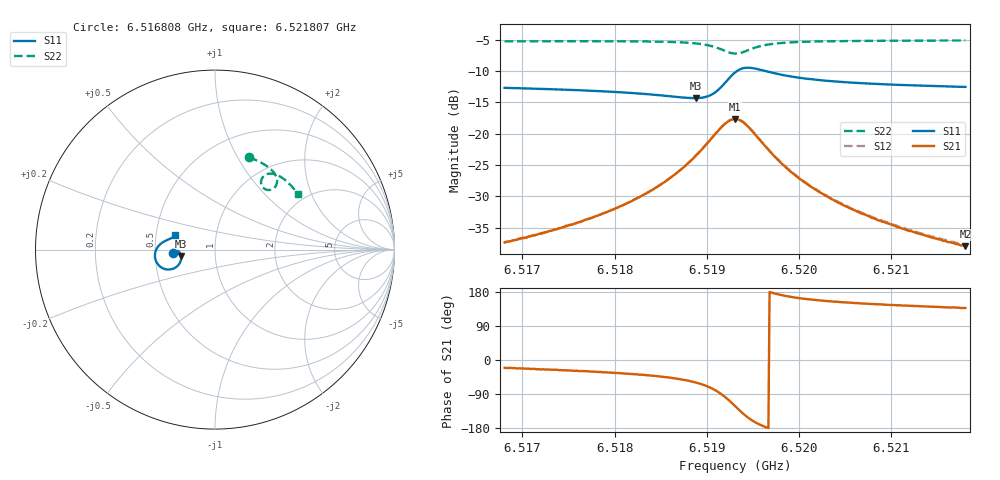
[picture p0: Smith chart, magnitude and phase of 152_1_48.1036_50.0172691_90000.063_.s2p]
#  HZ  S  RI  R  50.00
! Rohde & Schwarz Vector Network Analyzer
! Rohde-Schwarz,ZNB20-2Port,1311601062101988,3.16
! Created: UTC 12/23/2023, 3:49:51 AM
! freq[Hz]  re:S11  im:S11  re:S21  im:S21  re:S12  im:S12  re:S22  im:S22
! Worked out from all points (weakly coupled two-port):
!   401 points, 6.516808 GHz to 6.521807 GHz, reference 50 ohm
!   highest |S21| = -17.67 dB at 6.519307 GHz (marker M1); lowest = -38.0 dB at 6.521807 GHz (marker M2)
!   lowest |S11| = -14.3 dB at 6.518882 GHz (marker M3), VSWR 1.48, Z = 34 - j2.54 ohm
!   |S11| at or under -10 dB: start of sweep to 6.519327 GHz; 6.519643 GHz to end of sweep
!   |S22| runs from -7.2 to -5.1 dB; largest |S21 - S12| = 0.0041
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6.5168076e9  -0.2317 -0.0207  0.0127 -0.00471  0.0128 -0.0043  0.1898 0.5141
6.5172075e9  -0.2276 -0.0146  0.0144 -0.00664  0.0148 -0.0062  0.2193 0.5027
6.517645e9  -0.2218 -0.00916  0.0174 -0.0096  0.0177 -0.00923  0.2517 0.4873
6.5178824e9  -0.2179 -0.00705  0.0195 -0.0124  0.02 -0.0117  0.2694 0.4775
6.5181699e9  -0.2117 -0.00631  0.0229 -0.017  0.0234 -0.0163  0.291 0.4633
6.5184823e9  -0.2029 -0.00986  0.0279 -0.0264  0.0289 -0.0256  0.3152 0.4433
6.5186948e9  -0.1952 -0.0184  0.032 -0.0382  0.0334 -0.0372  0.3315 0.4244
6.5188822e9  -0.1889 -0.0359  0.0339 -0.0574  0.0359 -0.0567  0.3435 0.3996
6.5189947e9  -0.1894 -0.0552  0.0302 -0.0762  0.0328 -0.0757  0.346 0.3784
6.5190822e9  -0.1972 -0.0763  0.0197 -0.0951  0.0227 -0.0953  0.341 0.3583
6.5192197e9  -0.2417 -0.1092  -0.0252 -0.1208  -0.0217 -0.1224  0.3073 0.3325
6.5193072e9  -0.2905 -0.1042  -0.0684 -0.1114  -0.0655 -0.1143  0.2745 0.3397
6.5193572e9  -0.3143 -0.0865  -0.0877 -0.0936  -0.0858 -0.0969  0.2613 0.3548
6.5194196e9  -0.3313 -0.0566  -0.0995 -0.0659  -0.0985 -0.0692  0.2563 0.3774
6.5195321e9  -0.3308 -0.00873  -0.0941 -0.0249  -0.094 -0.028  0.2703 0.4083
6.5196321e9  -0.3173 0.0173  -0.0796 -0.0051  -0.0801 -0.00749  0.2903 0.4204
6.5198821e9  -0.286 0.0439  -0.0508 0.011  -0.0515 0.00947  0.3309 0.421
6.5201445e9  -0.2665 0.0533  -0.0347 0.0132  -0.0355 0.0123  0.3599 0.409
6.520532e9  -0.25 0.0607  -0.0228 0.0122  -0.0234 0.0118  0.3907 0.3875
6.5209819e9  -0.238 0.0673  -0.0157 0.0109  -0.0162 0.0106  0.4192 0.361
6.5214193e9  -0.2294 0.0735  -0.0117 0.00954  -0.0121 0.00931  0.4429 0.3348
6.5218067e9  -0.223 0.0789  -0.00925 0.00857  -0.00981 0.00851  0.4615 0.3108
